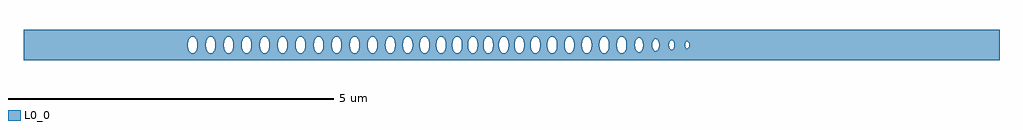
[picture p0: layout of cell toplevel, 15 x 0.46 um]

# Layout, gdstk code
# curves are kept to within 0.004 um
import gdstk
lib = gdstk.Library(unit=1e-6, precision=1e-09)
def P(c, l, *ps):  # polygons
    for p in ps: c.add(gdstk.Polygon(p, *l))
L0_0 = (0, 0)

toplevel = lib.new_cell('toplevel')
P(toplevel, L0_0, [(-7.5,0.231),(-7.5,-0.008),(-4.975,-0.008),(-4.973,0.032),(-4.961,0.077),(-4.937,0.114),(-4.906,0.13),(-4.878,0.124),(-4.85,0.095),(-4.83,0.04),(-4.827,-0.016),(-4.698,-0.016),(-4.695,0.04),(-4.684,0.077),(-4.656,0.118),(-4.629,0.13),(-4.601,0.124),(-4.577,0.101),(-4.559,0.063),(-4.55,0.008),(-4.555,-0.048),(-4.57,-0.089),(-4.593,-0.118),(-4.62,-0.13),(-4.647,-0.124),(-4.672,-0.101),(-4.687,-0.07),(-4.698,-0.016),(-4.827,-0.016),(-4.838,-0.07),(-4.857,-0.106),(-4.878,-0.124),(-4.906,-0.13),(-4.932,-0.118),(-4.952,-0.095),(-4.968,-0.056),(-4.975,-0.008),(-7.5,-0.008),(-7.5,-0.231),(-4.274,-0.231),(-4.274,-0.016),(-4.285,-0.071),(-4.3,-0.101),(-4.325,-0.124),(-4.352,-0.13),(-4.379,-0.118),(-4.402,-0.089),(-4.417,-0.048),(-4.422,-0.008),(-4.417,0.048),(-4.402,0.089),(-4.379,0.118),(-4.352,0.13),(-4.325,0.124),(-4.3,0.101),(-4.285,0.07),(-4.274,0.016),(-4.274,0.231)],
  [(-3.998,-0.016),(-4.004,-0.056),(-4.02,-0.095),(-4.039,-0.118),(-4.066,-0.13),(-4.094,-0.124),(-4.115,-0.106),(-4.134,-0.07),(-4.145,-0.016),(-4.274,-0.016),(-4.274,-0.231),(-3.495,-0.231),(-3.495,-0.124),(-3.513,-0.13),(-3.532,-0.128),(-3.561,-0.106),(-3.583,-0.063),(-3.592,-0.008),(-3.587,0.048),(-3.565,0.101),(-3.532,0.128),(-3.513,0.13),(-3.495,0.124),(-3.495,0.231),(-4.274,0.231),(-4.274,-0.016),(-4.145,-0.016),(-4.142,0.04),(-4.134,0.07),(-4.115,0.106),(-4.085,0.128),(-4.057,0.128),(-4.027,0.106),(-4.004,0.056),(-3.997,0),(-3.869,0),(-3.857,0.07),(-3.838,0.106),(-3.822,0.121),(-3.799,0.13),(-3.763,0.118),(-3.747,0.101),(-3.729,0.063),(-3.72,-0.008),(-3.734,-0.077),(-3.751,-0.106),(-3.772,-0.124),(-3.808,-0.128),(-3.842,-0.101),(-3.861,-0.056),(-3.869,0),(-3.997,0)],
  [(-2.76,-0.032),(-2.758,0.231),(-3.495,0.231),(-3.495,0.124),(-3.474,0.106),(-3.455,0.07),(-3.447,0.04),(-3.444,-0.016),(-3.315,-0.016),(-3.312,0.04),(-3.301,0.077),(-3.273,0.118),(-3.246,0.13),(-3.218,0.124),(-3.19,0.095),(-3.172,0.048),(-3.167,0),(-3.039,0),(-3.032,0.056),(-3.012,0.101),(-2.983,0.126),(-2.951,0.128),(-2.921,0.106),(-2.907,0.083),(-2.897,0.056),(-2.89,0),(-2.897,-0.056),(-2.91,-0.089),(-2.933,-0.118),(-2.96,-0.13),(-2.987,-0.124),(-3.012,-0.101),(-3.032,-0.056),(-3.039,0),(-3.167,0),(-3.172,-0.048),(-3.19,-0.095),(-3.21,-0.118),(-3.236,-0.13),(-3.26,-0.126),(-3.285,-0.106),(-3.304,-0.07),(-3.315,-0.016),(-3.444,-0.016),(-3.458,-0.077),(-3.474,-0.106),(-3.495,-0.124),(-3.495,-0.231),(-2.758,-0.231)],
  [(-2.209,0.016),(-2.193,0.083),(-2.163,0.121),(-2.14,0.13),(-2.122,0.128),(-2.088,0.101),(-2.088,0.231),(-2.758,0.231),(-2.758,0.04),(-2.748,0.077),(-2.728,0.11),(-2.711,0.124),(-2.683,0.13),(-2.656,0.118),(-2.628,0.077),(-2.617,0.04),(-2.614,-0.016),(-2.485,-0.016),(-2.482,0.04),(-2.462,0.095),(-2.439,0.121),(-2.407,0.13),(-2.38,0.118),(-2.357,0.089),(-2.342,0.048),(-2.337,0.008),(-2.342,-0.048),(-2.357,-0.089),(-2.38,-0.118),(-2.407,-0.13),(-2.43,-0.126),(-2.455,-0.106),(-2.474,-0.07),(-2.485,-0.016),(-2.614,-0.016),(-2.625,-0.07),(-2.637,-0.095),(-2.656,-0.118),(-2.683,-0.13),(-2.702,-0.128),(-2.728,-0.11),(-2.748,-0.077),(-2.758,-0.042),(-2.758,-0.231),(-2.088,-0.231),(-2.088,-0.101),(-2.108,-0.121),(-2.126,-0.129),(-2.149,-0.128),(-2.167,-0.118),(-2.183,-0.101),(-2.203,-0.056)],
  [(-1.408,0.016),(-1.4,0.063),(-1.382,0.101),(-1.382,0.231),(-2.088,0.231),(-2.088,0.101),(-2.068,0.056),(-2.062,-0.008),(-1.937,-0.008),(-1.932,0.048),(-1.917,0.089),(-1.894,0.118),(-1.867,0.13),(-1.835,0.121),(-1.812,0.095),(-1.792,0.04),(-1.789,0),(-1.67,0),(-1.666,0.04),(-1.653,0.083),(-1.627,0.118),(-1.6,0.13),(-1.573,0.124),(-1.548,0.101),(-1.528,0.056),(-1.521,0.008),(-1.528,-0.056),(-1.541,-0.089),(-1.564,-0.118),(-1.591,-0.13),(-1.618,-0.124),(-1.643,-0.101),(-1.662,-0.056),(-1.67,0),(-1.789,0),(-1.792,-0.04),(-1.812,-0.095),(-1.831,-0.118),(-1.858,-0.13),(-1.886,-0.124),(-1.91,-0.101),(-1.928,-0.063),(-1.937,-0.008),(-2.062,-0.008),(-2.068,-0.056),(-2.088,-0.101),(-2.088,-0.231),(-1.382,-0.231),(-1.382,-0.101),(-1.404,-0.048)],
  [(-1.382,0.231),(-1.382,0.101),(-1.358,0.124),(-1.34,0.13),(-1.303,0.118),(-1.272,0.07),(-1.261,-0.008),(-1.156,-0.008),(-1.149,0.056),(-1.136,0.089),(-1.113,0.118),(-1.086,0.13),(-1.059,0.124),(-1.034,0.101),(-1.015,0.056),(-1.007,0),(-1.011,-0.04),(-1.024,-0.083),(-1.05,-0.118),(-1.077,-0.13),(-1.104,-0.124),(-1.129,-0.101),(-1.147,-0.063),(-1.156,-0.008),(-1.261,-0.008),(-1.272,-0.07),(-1.303,-0.118),(-1.34,-0.13),(-1.358,-0.124),(-1.382,-0.101),(-1.382,-0.231),(-0.761,-0.231),(-0.761,-0.008),(-0.768,-0.056),(-0.784,-0.095),(-0.803,-0.118),(-0.83,-0.13),(-0.858,-0.124),(-0.879,-0.106),(-0.898,-0.07),(-0.909,-0.016),(-0.906,0.04),(-0.895,0.077),(-0.867,0.118),(-0.84,0.13),(-0.812,0.124),(-0.791,0.106),(-0.772,0.07),(-0.761,0.008),(-0.761,0.231)],
  [(-0.188,0.048),(-0.173,0.089),(-0.15,0.118),(-0.123,0.13),(-0.091,0.121),(-0.091,0.231),(-0.761,0.231),(-0.761,-0.008),(-0.668,-0.008),(-0.666,0.032),(-0.654,0.077),(-0.63,0.114),(-0.599,0.13),(-0.571,0.124),(-0.543,0.095),(-0.523,0.04),(-0.52,-0.008),(-0.43,-0.008),(-0.425,0.048),(-0.407,0.095),(-0.379,0.124),(-0.36,0.13),(-0.337,0.126),(-0.312,0.106),(-0.293,0.07),(-0.282,0.016),(-0.285,-0.04),(-0.296,-0.077),(-0.324,-0.118),(-0.351,-0.13),(-0.379,-0.124),(-0.407,-0.095),(-0.423,-0.056),(-0.43,-0.008),(-0.52,-0.008),(-0.527,-0.056),(-0.543,-0.095),(-0.562,-0.118),(-0.589,-0.13),(-0.617,-0.124),(-0.645,-0.095),(-0.661,-0.056),(-0.668,-0.008),(-0.761,-0.008),(-0.761,-0.231),(-0.091,-0.231),(-0.091,-0.121),(-0.114,-0.13),(-0.132,-0.128),(-0.15,-0.118),(-0.173,-0.089),(-0.188,-0.048),(-0.193,-0.008)],
  [(0.552,0.016),(0.56,0.063),(0.582,0.106),(0.582,0.231),(-0.091,0.231),(-0.091,0.121),(-0.071,0.101),(-0.056,0.07),(-0.048,0.04),(-0.045,-0.016),(0.047,-0.016),(0.05,0.04),(0.061,0.077),(0.089,0.118),(0.116,0.13),(0.144,0.124),(0.172,0.095),(0.19,0.048),(0.194,-0.016),(0.294,-0.016),(0.297,0.04),(0.308,0.077),(0.336,0.118),(0.363,0.13),(0.391,0.124),(0.419,0.095),(0.435,0.056),(0.442,0.008),(0.44,-0.032),(0.428,-0.077),(0.404,-0.114),(0.373,-0.13),(0.349,-0.126),(0.324,-0.106),(0.305,-0.07),(0.294,-0.016),(0.194,-0.016),(0.188,-0.056),(0.172,-0.095),(0.152,-0.118),(0.126,-0.13),(0.098,-0.124),(0.077,-0.106),(0.058,-0.07),(0.047,-0.016),(-0.045,-0.016),(-0.059,-0.077),(-0.071,-0.101),(-0.091,-0.121),(-0.091,-0.231),(0.582,-0.231),(0.582,-0.106),(0.556,-0.048)],
  [(1.353,0.04),(1.376,0.101),(1.376,0.231),(0.582,0.231),(0.582,0.106),(0.602,0.124),(0.62,0.13),(0.644,0.126),(0.669,0.106),(0.696,0.04),(0.699,-0.016),(0.816,-0.016),(0.819,0.04),(0.83,0.077),(0.858,0.118),(0.885,0.13),(0.913,0.124),(0.944,0.089),(0.962,0.032),(0.963,-0.016),(1.083,-0.016),(1.086,0.04),(1.097,0.077),(1.125,0.118),(1.152,0.13),(1.18,0.124),(1.204,0.101),(1.222,0.063),(1.231,0.008),(1.226,-0.048),(1.211,-0.089),(1.188,-0.118),(1.161,-0.13),(1.134,-0.124),(1.109,-0.101),(1.094,-0.07),(1.083,-0.016),(0.963,-0.016),(0.955,-0.063),(0.937,-0.101),(0.913,-0.124),(0.894,-0.13),(0.871,-0.126),(0.846,-0.106),(0.827,-0.07),(0.816,-0.016),(0.699,-0.016),(0.688,-0.07),(0.657,-0.118),(0.62,-0.13),(0.602,-0.124),(0.582,-0.106),(0.582,-0.231),(1.376,-0.231),(1.376,-0.101),(1.353,-0.04)],
  [(1.392,0.118),(1.428,0.13),(1.447,0.124),(1.467,0.106),(1.491,0.056),(1.498,-0.008),(1.619,-0.008),(1.624,0.048),(1.646,0.101),(1.679,0.128),(1.707,0.128),(1.737,0.106),(1.756,0.07),(1.764,0.04),(1.767,-0.014),(1.897,-0.014),(1.901,0.041),(1.914,0.077),(1.941,0.107),(1.965,0.112),(1.995,0.095),(2.01,0.071),(2.021,0.035),(2.024,-0.014),(2.004,-0.082),(1.988,-0.101),(1.965,-0.112),(1.945,-0.109),(1.923,-0.091),(1.909,-0.066),(1.897,-0.014),(1.767,-0.014),(1.756,-0.07),(1.741,-0.101),(1.716,-0.124),(1.689,-0.13),(1.662,-0.118),(1.639,-0.089),(1.624,-0.048),(1.619,-0.008),(1.498,-0.008),(1.484,-0.077),(1.455,-0.118),(1.438,-0.128),(1.414,-0.129),(1.396,-0.121),(1.376,-0.101),(1.376,-0.231),(2.18,-0.231),(2.18,-0.068),(2.164,-0.018),(2.167,0.035),(2.18,0.068),(2.18,0.231),(1.376,0.231),(1.376,0.101)],
  [(2.185,0.076),(2.213,0.094),(2.239,0.085),(2.262,0.05),(2.27,-0.009),(2.419,-0.009),(2.427,0.044),(2.439,0.064),(2.456,0.075),(2.475,0.072),(2.493,0.052),(2.503,0.023),(2.504,-0.007),(2.667,-0.007),(2.673,0.034),(2.696,0.057),(2.712,0.053),(2.722,0.042),(2.732,-0.007),(2.722,-0.042),(2.704,-0.057),(2.686,-0.052),(2.677,-0.042),(2.667,-0.007),(2.504,-0.007),(2.493,-0.052),(2.467,-0.075),(2.449,-0.072),(2.432,-0.055),(2.419,-0.009),(2.27,-0.009),(2.258,-0.06),(2.23,-0.091),(2.204,-0.091),(2.18,-0.068),(2.18,-0.231),(7.5,-0.231),(7.5,0.231),(2.18,0.231),(2.18,0.068)])

lib.write_gds('toplevel.gds')
